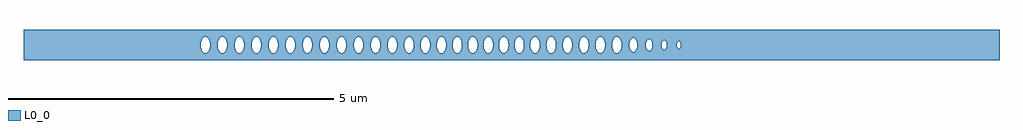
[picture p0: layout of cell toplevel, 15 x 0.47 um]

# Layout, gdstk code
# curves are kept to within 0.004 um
import gdstk
lib = gdstk.Library(unit=1e-6, precision=1e-09)
def P(c, l, *ps):  # polygons
    for p in ps: c.add(gdstk.Polygon(p, *l))
L0_0 = (0, 0)

toplevel = lib.new_cell('toplevel')
P(toplevel, L0_0, [(-4.514,0.024),(-4.505,0.068),(-4.478,0.112),(-4.478,0.234),(-7.5,0.234),(-7.5,-0.016),(-4.777,-0.016),(-4.775,0.032),(-4.764,0.075),(-4.74,0.112),(-4.705,0.128),(-4.678,0.119),(-4.655,0.093),(-4.641,0.061),(-4.633,0.016),(-4.635,-0.032),(-4.646,-0.075),(-4.67,-0.112),(-4.705,-0.128),(-4.732,-0.119),(-4.751,-0.098),(-4.764,-0.075),(-4.777,-0.016),(-7.5,-0.016),(-7.5,-0.234),(-4.478,-0.234),(-4.478,-0.112),(-4.493,-0.093),(-4.511,-0.047)],
  [(-4.47,0.119),(-4.443,0.128),(-4.43,0.125),(-4.397,0.098),(-4.376,0.047),(-4.371,-0.008),(-4.382,-0.068),(-4.409,-0.112),(-4.443,-0.128),(-4.478,-0.112),(-4.478,-0.234),(-4.173,-0.234),(-4.173,-0.126),(-4.195,-0.125),(-4.221,-0.108),(-4.243,-0.068),(-4.254,-0.016),(-4.251,0.039),(-4.235,0.087),(-4.208,0.119),(-4.173,0.126),(-4.173,0.234),(-4.478,0.234),(-4.478,0.112)],
  [(-4.112,-0.032),(-4.132,-0.093),(-4.155,-0.119),(-4.173,-0.126),(-4.173,-0.234),(-3.878,-0.234),(-3.878,-0.103),(-3.911,-0.126),(-3.947,-0.119),(-3.979,-0.075),(-3.993,-0.008),(-3.984,0.061),(-3.955,0.112),(-3.92,0.128),(-3.894,0.119),(-3.878,0.103),(-3.878,0.234),(-4.173,0.234),(-4.173,0.126),(-4.143,0.108),(-4.123,0.075),(-4.11,0.016)],
  [(-3.586,-0.011),(-3.595,-0.062),(-3.609,-0.093),(-3.632,-0.119),(-3.659,-0.128),(-3.685,-0.119),(-3.705,-0.098),(-3.72,-0.068),(-3.731,-0.016),(-3.728,0.039),(-3.717,0.075),(-3.694,0.112),(-3.659,0.128),(-3.632,0.119),(-3.609,0.093),(-3.591,0.047),(-3.586,0.008),(-3.586,0.234),(-3.878,0.234),(-3.878,0.103),(-3.859,0.068),(-3.848,0.016),(-3.853,-0.047),(-3.878,-0.103),(-3.878,-0.234),(-3.586,-0.234)],
  [(-3.203,-0.234),(-3.203,-0.047),(-3.208,-0.008),(-3.203,0.234),(-3.586,0.234),(-3.586,0),(-3.47,0),(-3.463,0.054),(-3.447,0.093),(-3.424,0.119),(-3.397,0.128),(-3.371,0.119),(-3.351,0.098),(-3.336,0.068),(-3.325,0.016),(-3.328,-0.039),(-3.341,-0.081),(-3.362,-0.112),(-3.397,-0.128),(-3.424,-0.119),(-3.447,-0.093),(-3.463,-0.054),(-3.47,0),(-3.586,0),(-3.586,-0.234)],
  [(-3.194,0.075),(-3.162,0.119),(-3.136,0.128),(-3.109,0.119),(-3.089,0.098),(-3.074,0.068),(-3.063,-0.008),(-3.068,-0.047),(-3.086,-0.093),(-3.101,-0.112),(-3.122,-0.125),(-3.149,-0.125),(-3.17,-0.112),(-3.185,-0.093),(-3.203,-0.047),(-3.203,-0.234),(-2.888,-0.234),(-2.888,-0.125),(-2.909,-0.112),(-2.924,-0.093),(-2.94,-0.054),(-2.946,-0.016),(-2.944,0.032),(-2.933,0.075),(-2.913,0.108),(-2.888,0.125),(-2.888,0.234),(-3.203,0.234),(-3.203,0.047)],
  [(-2.804,-0.032),(-2.815,-0.075),(-2.835,-0.108),(-2.86,-0.125),(-2.888,-0.125),(-2.888,-0.234),(-2.563,-0.234),(-2.563,-0.093),(-2.578,-0.112),(-2.599,-0.125),(-2.612,-0.128),(-2.639,-0.119),(-2.659,-0.098),(-2.674,-0.068),(-2.685,-0.008),(-2.674,0.068),(-2.659,0.098),(-2.639,0.119),(-2.612,0.128),(-2.599,0.125),(-2.578,0.112),(-2.563,0.093),(-2.563,0.234),(-2.888,0.234),(-2.888,0.125),(-2.874,0.128),(-2.847,0.119),(-2.824,0.093),(-2.805,0.039)],
  [(-2.542,-0.032),(-2.563,-0.093),(-2.563,-0.234),(-2.159,-0.234),(-2.159,0.234),(-2.563,0.234),(-2.563,0.093),(-2.545,0.047),(-2.541,-0.016),(-2.423,-0.016),(-2.421,0.032),(-2.41,0.075),(-2.386,0.112),(-2.351,0.128),(-2.324,0.119),(-2.301,0.093),(-2.287,0.061),(-2.279,0.016),(-2.281,-0.034),(-2.292,-0.075),(-2.316,-0.112),(-2.351,-0.128),(-2.378,-0.119),(-2.397,-0.098),(-2.41,-0.075),(-2.423,-0.016),(-2.541,-0.016)],
  [(-2.021,-0.039),(-2.031,-0.075),(-2.047,-0.103),(-2.063,-0.119),(-2.09,-0.128),(-2.117,-0.119),(-2.129,-0.108),(-2.146,-0.081),(-2.159,-0.04),(-2.159,-0.234),(-1.87,-0.234),(-1.87,-0.108),(-1.892,-0.068),(-1.903,-0.016),(-1.898,0.047),(-1.887,0.081),(-1.87,0.108),(-1.87,0.234),(-2.159,0.234),(-2.159,0.039),(-2.143,0.087),(-2.117,0.119),(-2.09,0.128),(-2.063,0.119),(-2.04,0.093),(-2.024,0.054),(-2.018,0.016)],
  [(-1.862,0.115),(-1.831,0.128),(-1.804,0.119),(-1.792,0.108),(-1.767,0.061),(-1.758,0),(-1.767,-0.061),(-1.796,-0.112),(-1.831,-0.128),(-1.87,-0.108),(-1.87,-0.234),(-1.561,-0.234),(-1.561,-0.125),(-1.589,-0.125),(-1.618,-0.103),(-1.634,-0.075),(-1.647,-0.016),(-1.644,0.039),(-1.625,0.093),(-1.602,0.119),(-1.575,0.128),(-1.561,0.125),(-1.561,0.234),(-1.87,0.234),(-1.87,0.108)],
  [(-1.505,-0.032),(-1.525,-0.093),(-1.54,-0.112),(-1.561,-0.125),(-1.561,-0.234),(-1.262,-0.234),(-1.262,-0.068),(-1.277,-0.098),(-1.297,-0.119),(-1.323,-0.128),(-1.346,-0.121),(-1.366,-0.103),(-1.382,-0.075),(-1.396,-0.008),(-1.391,0.047),(-1.382,0.075),(-1.35,0.119),(-1.323,0.128),(-1.297,0.119),(-1.277,0.098),(-1.262,0.068),(-1.262,0.234),(-1.561,0.234),(-1.561,0.125),(-1.536,0.108),(-1.516,0.075),(-1.503,0.016)],
  [(-1.252,-0.016),(-1.262,-0.068),(-1.262,-0.234),(-0.906,-0.234),(-0.906,0.234),(-1.262,0.234),(-1.262,0.068),(-1.251,0),(-1.149,0),(-1.144,0.047),(-1.126,0.093),(-1.103,0.119),(-1.076,0.128),(-1.05,0.119),(-1.03,0.098),(-1.015,0.068),(-1.004,0.016),(-1.007,-0.039),(-1.02,-0.081),(-1.041,-0.112),(-1.076,-0.128),(-1.103,-0.119),(-1.126,-0.093),(-1.144,-0.047),(-1.149,0),(-1.251,0)],
  [(-0.763,-0.032),(-0.777,-0.081),(-0.794,-0.108),(-0.82,-0.125),(-0.847,-0.125),(-0.872,-0.108),(-0.892,-0.075),(-0.906,0),(-0.906,-0.234),(-0.652,-0.234),(-0.652,-0.075),(-0.666,-0.008),(-0.664,0.032),(-0.652,0.075),(-0.652,0.234),(-0.906,0.234),(-0.906,0),(-0.901,0.047),(-0.883,0.093),(-0.86,0.119),(-0.824,0.126),(-0.798,0.112),(-0.777,0.081),(-0.761,0.016)],
  [(-0.64,0.098),(-0.62,0.119),(-0.594,0.128),(-0.559,0.112),(-0.532,0.068),(-0.521,-0.008),(-0.532,-0.068),(-0.547,-0.098),(-0.567,-0.119),(-0.594,-0.128),(-0.62,-0.119),(-0.652,-0.075),(-0.652,-0.234),(-0.356,-0.234),(-0.356,-0.128),(-0.382,-0.119),(-0.402,-0.098),(-0.417,-0.068),(-0.428,-0.016),(-0.425,0.039),(-0.412,0.081),(-0.391,0.112),(-0.356,0.128),(-0.356,0.234),(-0.652,0.234),(-0.652,0.075)],
  [(-0.286,-0.032),(-0.297,-0.075),(-0.313,-0.103),(-0.329,-0.119),(-0.356,-0.128),(-0.356,-0.234),(-0.084,-0.234),(-0.084,-0.112),(-0.119,-0.128),(-0.153,-0.112),(-0.18,-0.068),(-0.191,-0.008),(-0.18,0.068),(-0.157,0.108),(-0.145,0.119),(-0.119,0.128),(-0.084,0.112),(-0.084,0.234),(-0.356,0.234),(-0.356,0.128),(-0.321,0.112),(-0.297,0.075),(-0.284,0.016)],
  [(0.187,-0.047),(0.176,-0.081),(0.155,-0.112),(0.133,-0.125),(0.106,-0.125),(0.081,-0.108),(0.061,-0.075),(0.047,0),(0.061,0.075),(0.081,0.108),(0.106,0.125),(0.133,0.125),(0.155,0.112),(0.176,0.081),(0.187,0.047),(0.187,0.234),(-0.084,0.234),(-0.084,0.112),(-0.057,0.068),(-0.046,0.008),(-0.057,-0.068),(-0.084,-0.112),(-0.084,-0.234),(0.187,-0.234)],
  [(0.538,0.016),(0.548,0.068),(0.548,0.234),(0.187,0.234),(0.192,-0.016),(0.29,-0.016),(0.292,0.032),(0.303,0.075),(0.327,0.112),(0.362,0.128),(0.389,0.119),(0.412,0.093),(0.428,0.054),(0.434,0.016),(0.432,-0.032),(0.421,-0.075),(0.397,-0.112),(0.362,-0.128),(0.335,-0.119),(0.312,-0.093),(0.296,-0.054),(0.29,-0.016),(0.192,-0.016),(0.187,-0.047),(0.187,-0.234),(0.548,-0.234),(0.548,-0.068),(0.538,-0.024)],
  [(0.56,0.093),(0.575,0.112),(0.596,0.125),(0.609,0.128),(0.636,0.119),(0.656,0.098),(0.671,0.068),(0.682,-0.008),(0.668,-0.075),(0.656,-0.098),(0.632,-0.121),(0.609,-0.128),(0.583,-0.119),(0.563,-0.098),(0.548,-0.068),(0.548,-0.234),(0.852,-0.234),(0.852,-0.126),(0.834,-0.119),(0.811,-0.093),(0.793,-0.047),(0.788,-0.008),(0.793,0.047),(0.802,0.075),(0.822,0.108),(0.852,0.126),(0.852,0.234),(0.548,0.234),(0.548,0.068)],
  [(0.931,-0.032),(0.919,-0.075),(0.896,-0.112),(0.874,-0.125),(0.852,-0.126),(0.852,-0.234),(1.172,-0.234),(1.172,-0.075),(1.14,-0.119),(1.113,-0.128),(1.099,-0.125),(1.078,-0.112),(1.063,-0.093),(1.041,-0.016),(1.043,0.032),(1.054,0.075),(1.086,0.119),(1.113,0.128),(1.14,0.119),(1.172,0.075),(1.172,0.234),(0.852,0.234),(0.852,0.126),(0.887,0.119),(0.91,0.093),(0.931,0.032)],
  [(1.183,-0.032),(1.172,-0.075),(1.172,-0.234),(1.55,-0.234),(1.55,0.234),(1.172,0.234),(1.172,0.075),(1.182,0.039),(1.185,-0.008),(1.293,-0.008),(1.298,0.047),(1.316,0.093),(1.339,0.119),(1.365,0.128),(1.392,0.119),(1.412,0.098),(1.427,0.068),(1.438,0.008),(1.433,-0.047),(1.415,-0.093),(1.392,-0.119),(1.365,-0.128),(1.339,-0.119),(1.319,-0.098),(1.304,-0.068),(1.293,-0.008),(1.185,-0.008)],
  [(1.691,-0.032),(1.667,-0.098),(1.647,-0.119),(1.62,-0.128),(1.594,-0.119),(1.574,-0.098),(1.55,-0.033),(1.55,-0.234),(1.843,-0.234),(1.843,-0.096),(1.825,-0.07),(1.811,-0.014),(1.817,0.047),(1.843,0.096),(1.843,0.234),(1.55,0.234),(1.55,0.032),(1.562,0.075),(1.586,0.112),(1.62,0.128),(1.643,0.121),(1.667,0.098),(1.682,0.068),(1.692,0.024)],
  [(1.85,0.102),(1.881,0.109),(1.91,0.089),(1.928,0.053),(1.935,-0.014),(1.926,-0.059),(1.9,-0.099),(1.873,-0.11),(1.843,-0.096),(1.843,-0.234),(2.102,-0.234),(2.102,-0.089),(2.077,-0.063),(2.063,-0.006),(2.073,0.054),(2.102,0.089),(2.102,0.234),(1.843,0.234),(1.843,0.096)],
  [(2.166,-0.017),(2.161,-0.044),(2.146,-0.074),(2.128,-0.089),(2.102,-0.089),(2.102,-0.234),(2.365,-0.234),(2.365,-0.067),(2.344,-0.074),(2.322,-0.06),(2.31,-0.035),(2.305,-0.005),(2.31,0.035),(2.322,0.06),(2.344,0.074),(2.365,0.067),(2.365,0.234),(2.102,0.234),(2.102,0.089),(2.128,0.089),(2.151,0.067),(2.166,0.023)],
  [(2.388,-0.014),(2.381,-0.043),(2.365,-0.067),(2.365,-0.234),(7.5,-0.234),(7.5,0.234),(2.365,0.234),(2.365,0.067),(2.384,0.035),(2.389,-0.007),(2.54,-0.007),(2.547,0.036),(2.57,0.056),(2.584,0.052),(2.594,0.041),(2.603,0.014),(2.599,-0.03),(2.589,-0.047),(2.574,-0.056),(2.56,-0.052),(2.55,-0.041),(2.54,-0.007),(2.389,-0.007)])

lib.write_gds('toplevel.gds')
